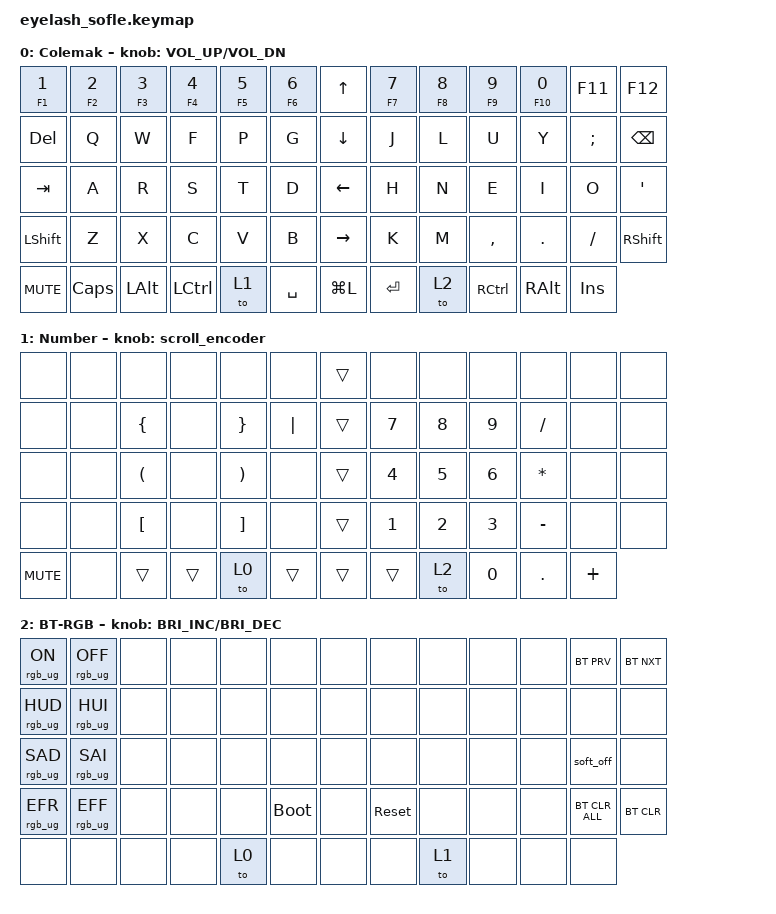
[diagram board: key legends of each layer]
#define ZMK_POINTING_DEFAULT_MOVE_VAL 1200  // 600
#define ZMK_POINTING_DEFAULT_SCRL_VAL 25   // 10

#include <input/processors.dtsi>
#include <zephyr/dt-bindings/input/input-event-codes.h>
#include <behaviors.dtsi>
#include <behaviors/runtime-sensor-rotate.dtsi>
#include <dt-bindings/zmk/bt.h>
#include <dt-bindings/zmk/keys.h>
#include <dt-bindings/zmk/outputs.h>
#include <dt-bindings/zmk/pointing.h>
#include <dt-bindings/zmk/rgb.h>

&mmv_input_listener { input-processors = <&zip_xy_scaler 2 1>; };

&msc_input_listener { input-processors = <&zip_scroll_scaler 2 1>; };

&msc {
    acceleration-exponent = <1>;      // 0
    time-to-max-speed-ms = <100>;       // 300
    delay-ms = <0>;                   // 0
};

&mmv {
    time-to-max-speed-ms = <500>;
    acceleration-exponent = <1>;
    trigger-period-ms = <16>;
};

&soft_off { hold-time-ms = <2000>; };

/ {
    scroll_encoder: scroll_encoder {
        compatible = "zmk,behavior-sensor-rotate";
        #sensor-binding-cells = <0>;
        bindings = <&msc SCRL_DOWN>, <&msc SCRL_UP>;

        tap-ms = <100>;
    };

    behaviors {
        rsr_vol: rsr_vol {
            compatible = "zmk,behavior-runtime-sensor-rotate";
            #sensor-binding-cells = <0>;
            tap-ms = <5>;
            cw-binding = <&kp C_VOL_UP>;
            ccw-binding = <&kp C_VOL_DN>;
        };

        rsr_trans: rsr_trans {
            compatible = "zmk,behavior-runtime-sensor-rotate";
            #sensor-binding-cells = <0>;
            tap-ms = <0>;
        };
    };

    combos {
        compatible = "zmk,combos";

        softoff {
            bindings = <&soft_off>;
            key-positions = <14 28 40>;
        };
    };

    macros {
        SHIFT_MCLK: SHIFT_MCLK {
            compatible = "zmk,behavior-macro";
            #binding-cells = <0>;
            bindings =
                <&macro_press>,
                <&kp LEFT_SHIFT>,
                <&macro_press>,
                <&mkp MB3>,
                <&macro_pause_for_release>,
                <&macro_release>,
                <&kp LEFT_SHIFT &mkp MB3>;

            label = "SHIFT_MCLK";
        };
    };

    keymap {
        compatible = "zmk,keymap";

        Colemak {
            bindings = <
&mt F1 NUMBER_1  &mt F2 NUMBER_2  &mt F3 NUMBER_3  &mt F4 NUMBER_4  &mt F5 N5  &mt F6 NUMBER_6    &kp UP_ARROW     &mt F7 N7  &mt F8 N8  &mt F9 N9  &mt F10 NUMBER_0  &kp F11   &kp F12
&kp DELETE       &kp Q            &kp W            &kp F            &kp P      &kp G              &kp DOWN_ARROW   &kp J      &kp L      &kp U      &kp Y             &kp SEMI  &kp BACKSPACE
&kp TAB          &kp A            &kp R            &kp S            &kp T      &kp D              &kp LEFT_ARROW   &kp H      &kp N      &kp E      &kp I             &kp O     &kp APOS
&kp LSHFT        &kp Z            &kp X            &kp C            &kp V      &kp B              &kp RIGHT_ARROW  &kp K      &kp M      &kp COMMA  &kp DOT           &kp FSLH  &kp RIGHT_SHIFT
&kp C_MUTE       &kp CAPS         &kp LEFT_ALT     &kp LCTRL        &to 1      &kp SPACE          &kp LG(L)        &kp ENTER  &to 2      &kp RCTRL  &kp RIGHT_ALT     &kp INS
            >;

            sensor-bindings = <&inc_dec_kp C_VOLUME_UP C_VOL_DN>;
            display-name = "Colemak";
 };

        Number {
            bindings = <
&none       &none  &none                 &none   &none                  &none       &trans  &none   &none   &none   &none         &none     &none
&none       &none  &kp LEFT_BRACE        &none   &kp RIGHT_BRACE        &kp PIPE    &trans  &kp N7  &kp N8  &kp N9  &kp SLASH     &none     &none
&none       &none  &kp LEFT_PARENTHESIS  &none   &kp RIGHT_PARENTHESIS  &none       &trans  &kp N4  &kp N5  &kp N6  &kp ASTERISK  &none     &none
&none       &none  &kp LEFT_BRACKET      &none   &kp RIGHT_BRACKET      &none       &trans  &kp N1  &kp N2  &kp N3  &kp MINUS     &none     &none
&kp C_MUTE  &none  &trans                &trans  &to 0                  &trans      &trans  &trans  &to 2   &kp N0  &kp DOT       &kp PLUS
            >;
            display-name = "Number";
            sensor-bindings = <&scroll_encoder>;
        };

        BT {
            bindings = <
&rgb_ug RGB_ON   &rgb_ug RGB_OFF  &none  &none  &none  &none          &none  &none       &none  &none  &none  &bt BT_PRV      &bt BT_NXT
&rgb_ug RGB_HUD  &rgb_ug RGB_HUI  &none  &none  &none  &none          &none  &none       &none  &none  &none  &none           &none
&rgb_ug RGB_SAD  &rgb_ug RGB_SAI  &none  &none  &none  &none          &none  &none       &none  &none  &none  &soft_off       &none
&rgb_ug RGB_EFR  &rgb_ug RGB_EFF  &none  &none  &none  &bootloader    &none  &sys_reset  &none  &none  &none  &bt BT_CLR_ALL  &bt BT_CLR
&none            &none            &none  &none  &to 0  &none          &none  &none       &to 1  &none  &none  &none
            >;

display-name = "BT-RGB";
            sensor-bindings = <&inc_dec_kp C_BRI_INC C_BRI_DEC>;
        };
    };
};
